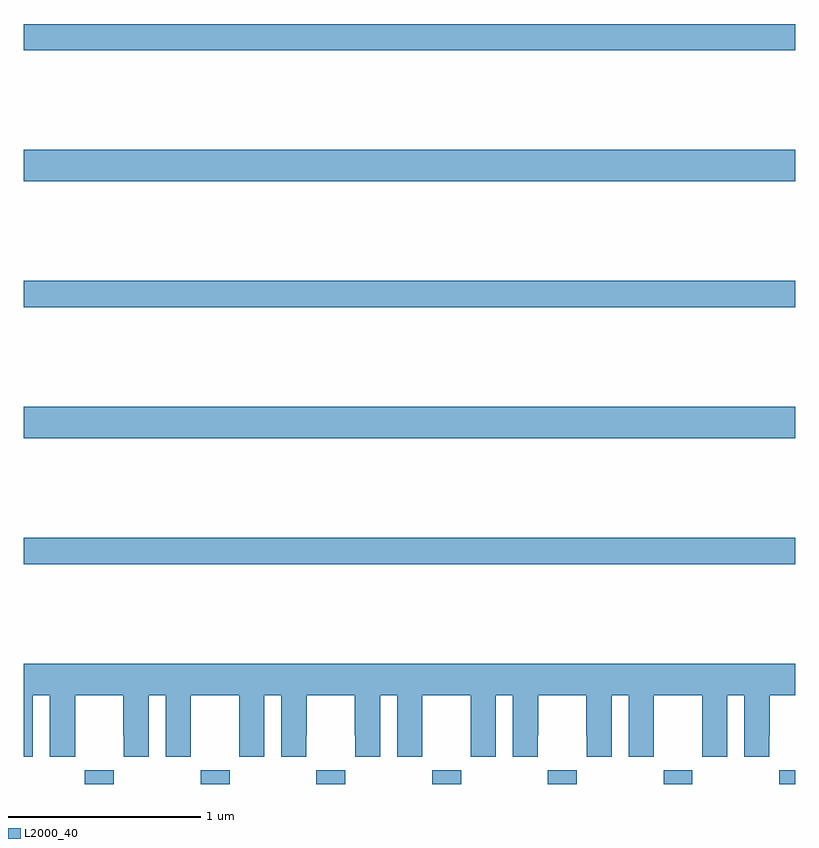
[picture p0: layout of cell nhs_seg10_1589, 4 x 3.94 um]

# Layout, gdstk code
import gdstk
lib = gdstk.Library(unit=1e-6, precision=1e-09)
def R(c, l, rs):  # rectangles x0, y0, x1, y1
    for r in rs: c.add(gdstk.rectangle(r[:2], r[2:], *l))
def A(c, l, x, y, w, h, nx, ny, dx, dy):  # array of equal rectangles
    R(c, l, [(x+i*dx, y+j*dy, x+i*dx+w, y+j*dy+h) for i in range(nx) for j in range(ny)])
def P(c, l, *ps):  # polygons
    for p in ps: c.add(gdstk.Polygon(p, *l))
L2000_40 = (2000, 40)

nhs_seg10_1589 = lib.new_cell('nhs_seg10_1589')
A(nhs_seg10_1589, L2000_40, 193.317, 1322.5, 0.15, 0.072, 6, 1, 0.6, 0)
A(nhs_seg10_1589, L2000_40, 193, 1323.64, 4, 0.136, 1, 3, 0, 1.332)
R(nhs_seg10_1589, L2000_40, [(196.917,1322.5,197,1322.572), (193,1324.292,197,1324.456), (193,1325.624,197,1325.788)])
P(nhs_seg10_1589, L2000_40, [(193.048,1322.96),(193.136,1322.96),(193.136,1322.64),(193.266,1322.64),(193.266,1322.752),(193.267,1322.752),(193.267,1322.96),(193.517,1322.96),(193.517,1322.752),(193.518,1322.752),(193.518,1322.64),(193.648,1322.64),(193.648,1322.96),(193.736,1322.96),(193.736,1322.64),(193.866,1322.64),(193.866,1322.752),(193.867,1322.752),(193.867,1322.96),(194.117,1322.96),(194.117,1322.752),(194.118,1322.752),(194.118,1322.64),(194.248,1322.64),(194.248,1322.96),(194.336,1322.96),(194.336,1322.64),(194.466,1322.64),(194.466,1322.752),(194.467,1322.752),(194.467,1322.96),(194.717,1322.96),(194.717,1322.752),(194.718,1322.752),(194.718,1322.64),(194.848,1322.64),(194.848,1322.96),(194.936,1322.96),(194.936,1322.64),(195.066,1322.64),(195.066,1322.752),(195.067,1322.752),(195.067,1322.96),(195.317,1322.96),(195.317,1322.752),(195.318,1322.752),(195.318,1322.64),(195.448,1322.64),(195.448,1322.96),(195.536,1322.96),(195.536,1322.64),(195.666,1322.64),(195.666,1322.752),(195.667,1322.752),(195.667,1322.96),(195.917,1322.96),(195.917,1322.752),(195.918,1322.752),(195.918,1322.64),(196.048,1322.64),(196.048,1322.96),(196.136,1322.96),(196.136,1322.64),(196.266,1322.64),(196.266,1322.752),(196.267,1322.752),(196.267,1322.96),(196.517,1322.96),(196.517,1322.752),(196.518,1322.752),(196.518,1322.64),(196.648,1322.64),(196.648,1322.96),(196.736,1322.96),(196.736,1322.64),(196.866,1322.64),(196.866,1322.752),(196.867,1322.752),(196.867,1322.96),(197,1322.96),(197,1323.124),(193,1323.124),(193,1322.64),(193.048,1322.64)])

lib.write_gds('nhs_seg10_1589.gds')
